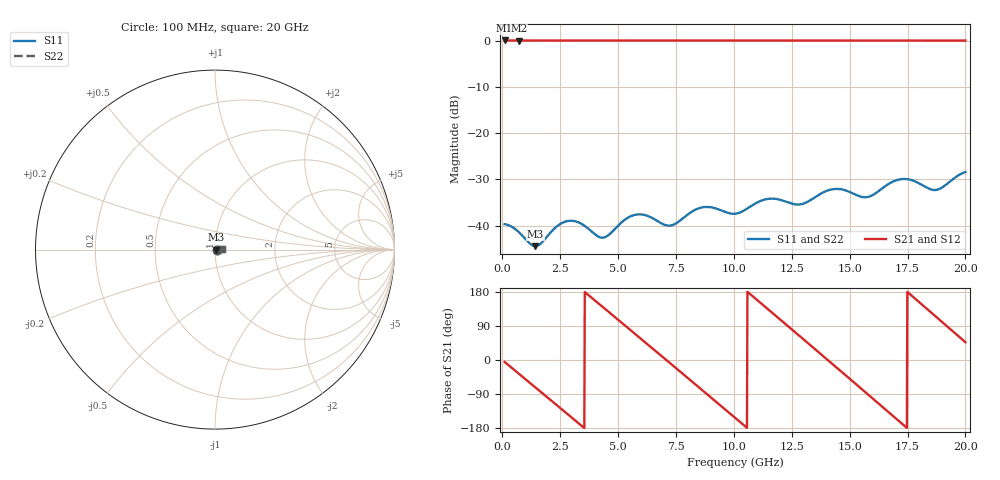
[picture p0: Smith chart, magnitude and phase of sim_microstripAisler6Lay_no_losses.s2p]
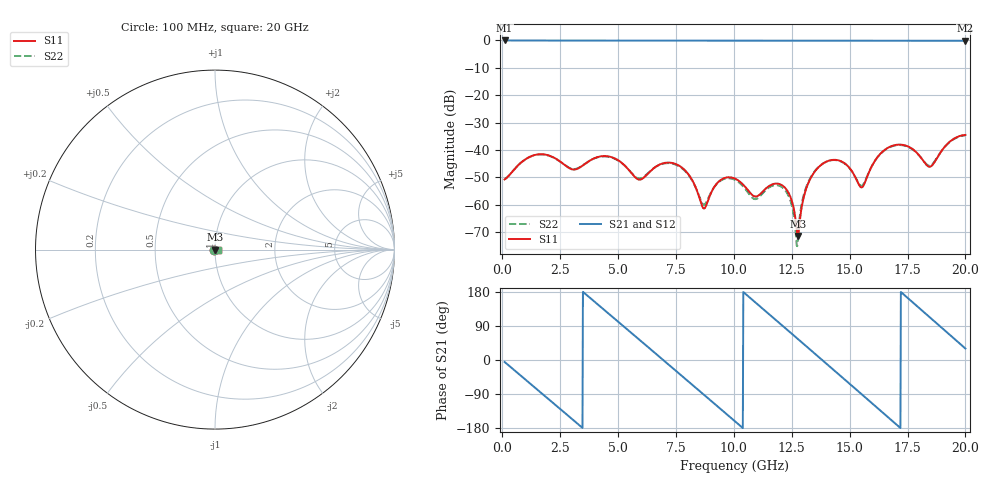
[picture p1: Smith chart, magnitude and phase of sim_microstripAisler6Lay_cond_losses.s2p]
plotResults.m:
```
clear;
close all;

% Plot Size and scaling
size_x = 1280;
size_y = 720;

% Parse Touchstone
[~, freq_noLosses, sp_noLosses]=read_touchstone('sim_microstripAisler6Lay_no_losses.s2p');
[~, freq_condLosses, sp_condLosses]=read_touchstone('sim_microstripAisler6Lay_cond_losses.s2p');
[~, freq_subLosses, sp_subLosses]=read_touchstone('sim_microstripAisler6Lay_sub_losses.s2p');
[~, freq_subCondLosses, sp_subCondLosses]=read_touchstone('sim_microstripAisler6Lay_subCond_losses.s2p');
[~, freq_meas sp_meas]=read_touchstone('combLineTabbed6G_2xthru_deemb.s2p');

dB = @(x) 20*log10(abs(squeeze(x)));

% ------------------------------------------------------------------------------
% -
% - Plot 1: Transmission
% -
% ------------------------------------------------------------------------------

% Create Figure 1
fig1 = figure('Position', [0,0, size_x, size_y]);

% Plot Lines
hold on;
plot(freq_noLosses/1e9, dB(sp_noLosses(2,1,:)), 'Linewidth', 1.5);
plot(freq_condLosses/1e9, dB(sp_condLosses(2,1,:)), 'Linewidth', 1.5);
plot(freq_subLosses/1e9, dB(sp_subLosses(2,1,:)), 'Linewidth', 1.5);
plot(freq_subCondLosses/1e9, dB(sp_subCondLosses(2,1,:)), 'Linewidth', 1.5);
plot(freq_meas/1e9, dB(sp_meas(2,1,:)), 'Linewidth', 1.5);
hold off;

% Plot Texts
legend( 'openEMS - lossless',...
        'openEMS - condSheet only',...
        'openEMS - Djordjevic only',...
        'openEMS - Djordjevic+CondSheet',...
        'De-embedded Measurement ',...
        'FontSize', 11,...
        'Location', 'SouthWest');

title({'Microstrip on Aisler 6 Layer HD - Transmission S_{21}',...
       'Simulation vs. Measurment'});
xlabel('Frequency / GHz');
ylabel('Magnitude / dB');
grid minor

print(fig1, 'meas_vs_sim_s21.png', '-dpng', sprintf('-S%i,%i', size_x, size_y));


% ------------------------------------------------------------------------------
% -
% - Plot 2: Reflection
% -
% ------------------------------------------------------------------------------

% Create Figure 2
fig2 = figure('Position', [0,0, size_x, size_y]);

% Plot Lines
hold on;
plot(freq_noLosses/1e9, dB(sp_noLosses(1,1,:)), 'Linewidth', 1.5);
plot(freq_condLosses/1e9, dB(sp_condLosses(1,1,:)), 'Linewidth', 1.5);
plot(freq_subLosses/1e9, dB(sp_subLosses(1,1,:)), 'Linewidth', 1.5);
plot(freq_subCondLosses/1e9, dB(sp_subCondLosses(1,1,:)), 'Linewidth', 1.5);
plot(freq_meas/1e9, dB(sp_meas(1,1,:)), 'Linewidth', 1.5);
hold off;

% Plot Texts
legend( 'openEMS - lossless',...
        'openEMS - condSheet only',...
        'openEMS - Djordjevic only',...
        'openEMS - Djordjevic+CondSheet',...
        'De-embedded Measurement ',...
        'FontSize', 11,...
        'Location', 'SouthWest');


title({'Microstrip on Aisler 6 Layer HD - Reflection S_{11}',...
       'Simulation vs. Measurment'});
xlabel('Frequency / GHz');
ylabel('Magnitude / dB');
grid minor

print(fig2, 'meas_vs_sim_s11.png', '-dpng', sprintf('-S%i,%i', size_x, size_y));
% ------------------------------------------------------------------------------
% -
% - Plot 3: Measurmed Transmission line
% -
% ------------------------------------------------------------------------------

% Create Figure 1
fig3 = figure('Position', [0,0, size_x, size_y]);

% Plot Lines
hold on;
plot(freq_meas/1e9, dB(sp_meas(1,1,:)), 'Linewidth', 1.5);
plot(freq_meas/1e9, dB(sp_meas(2,1,:)), 'Linewidth', 1.5);
plot(freq_meas/1e9, dB(sp_meas(1,2,:)), 'Linewidth', 1.5);
plot(freq_meas/1e9, dB(sp_meas(2,2,:)), 'Linewidth', 1.5);
hold off;

ylim([-50,0]);

% Plot Texts
legend( 'S_{11}', 'S_{21}', 'S_{12}', 'S_{22}', 'FontSize', 11, 'Location', 'SouthWest');

title({'Microstrip on Aisler 6 Layer HD',...
       'De-Embedded Measurment (23.5mm)'});
xlabel('Frequency / GHz');
ylabel('Magnitude / dB');
grid minor

print(fig3, 'meas_deemb.png', '-dpng', sprintf('-S%i,%i', size_x, size_y));
```
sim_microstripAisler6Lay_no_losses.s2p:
#  Hz  S  RI  R  50
!  Microstrip line with via fence on Aisler 6 layer HD stackup
!  Line length = combLineTabbed6G_2xthru (54.2mm) - SMA_Rosenbergerv2 fixture (28.9mm) = 23.5mm
!  No losses
!  Paramter List:
!  lossySubstrate = 0, Flag that indicates if substrate losses were enabled
!  lossyCondSheet = 0, Flag that indicates if the zero thickness conducting sheet model was used
!  w50 = 0.65, Width of the 50Ohm line
!  w50gndfree = 1.225, Seperation between RF trace edges to GND planes
!  lineLength = 23.5, Length of the microstrip transmission line
!  portLength = 8,
!  measPlaneShiftP1 = 8,
!  measPlaneShiftP2 = 8,
!  feedShift = 3.74741,
!  numViasX = 55,
!  pcbX = 39.5,
!  pcbY = 25,
!  stackupL01th = 0.04,
!  stackupSub01th = 0.13626,
!  stackupL02th = 0.035,
!  stackupSub02th = 0.2,
!  stackupL03th = 0.035,
!  viaD03 = 0.3,
!  viaCpD03 = 0.6,
!  viaClearD03 = 1,
!  viaPitch = 0.6,
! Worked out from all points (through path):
!   1001 points, 100 MHz to 20 GHz, reference 50 ohm
!   highest |S21| = 0.02 dB at 100 MHz (marker M1); lowest = 0.0 dB at 716.9 MHz (marker M2)
!   group delay of S21, straight-line fit = 143 ps
!   lowest |S11| = -44.4 dB at 1.433 GHz (marker M3), VSWR 1.01, Z = 50.6 + j0.0163 ohm
!   |S11| at or under -10 dB: start of sweep to end of sweep
!   |S22| runs from -44.4 to -28.4 dB; largest |S21 - S12| = 1.7e-05
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1e8  0.0104 -0.000476  0.9977 -0.0892  0.9977 -0.0892  0.0104 -0.000477
7.169e8  0.00824 -0.00214  0.8044 -0.5911  0.8044 -0.5911  0.00825 -0.00214
1.4333e9  0.00602 0.000161  0.2996 -0.9558  0.2996 -0.9558  0.00602 0.000161
3.4233e9  0.0104 -0.00149  -0.9937 -0.1121  -0.9937 -0.1121  0.0104 -0.00149
5.2541e9  0.0111 0.00292  -0.0587 0.9988  -0.0587 0.9988  0.0111 0.00292
7.3038e9  0.0101 0.000634  0.9814 -0.1958  0.9814 -0.1958  0.0101 0.000633
1.005e10  0.0135 0.000188  -0.8862 -0.465  -0.8862 -0.465  0.0135 0.000197
1.21793e10  0.0184 -0.002  -0.1326 0.992  -0.1326 0.992  0.0184 -0.00199
1.40698e10  0.0241 0.00131  1.001 -0.0127  1.001 -0.0127  0.0242 0.00131
1.76717e10  0.0308 -0.00466  -0.9856 0.1689  -0.9856 0.1689  0.0308 -0.00465
2e10  0.038 0.00196  0.6822 0.7301  0.6822 0.7301  0.0379 0.00185
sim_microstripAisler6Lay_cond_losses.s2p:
#  Hz  S  RI  R  50
!  Microstrip line with via fence on Aisler 6 layer HD stackup
!  Line length = combLineTabbed6G_2xthru (54.2mm) - SMA_Rosenbergerv2 fixture (28.9mm) = 23.5mm
!  Conductor losses only
!  Paramter List:
!  lossySubstrate = 0, Flag that indicates if substrate losses were enabled
!  lossyCondSheet = 1, Flag that indicates if the zero thickness conducting sheet model was used
!  w50 = 0.65, Width of the 50Ohm line
!  w50gndfree = 1.225, Seperation between RF trace edges to GND planes
!  lineLength = 23.5, Length of the microstrip transmission line
!  portLength = 8,
!  measPlaneShiftP1 = 8,
!  measPlaneShiftP2 = 8,
!  feedShift = 3.74741,
!  numViasX = 55,
!  pcbX = 39.5,
!  pcbY = 25,
!  stackupL01th = 0,
!  stackupSub01th = 0.13626,
!  stackupL02th = 0,
!  stackupSub02th = 0.2,
!  stackupL03th = 0,
!  viaD03 = 0.3,
!  viaCpD03 = 0.6,
!  viaClearD03 = 1,
!  viaPitch = 0.6,
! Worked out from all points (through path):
!   1001 points, 100 MHz to 20 GHz, reference 50 ohm
!   highest |S21| = 0.00 dB at 100 MHz (marker M1); lowest = -0.1 dB at 20 GHz (marker M2)
!   group delay of S21, straight-line fit = 146 ps
!   lowest |S11| = -71.4 dB at 12.76 GHz (marker M3), VSWR 1.00, Z = 50 + j0.00552 ohm
!   |S11| at or under -10 dB: start of sweep to end of sweep
!   |S22| runs from -75.1 to -34.7 dB; largest |S21 - S12| = 0.00078
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1e8  -0.00286 -0.000494  0.9955 -0.0909  0.9955 -0.091  -0.00289 -0.000487
1.692e9  -0.00829 -0.00108  0.0426 -0.9968  0.0421 -0.9962  -0.00822 -0.00106
3.2442e9  -0.0044 -0.00105  -0.9732 -0.2104  -0.9725 -0.2101  -0.00449 -0.00104
5.1546e9  -0.00554 0.00184  -0.0567 0.9921  -0.057 0.9921  -0.00551 0.00173
6.9456e9  -0.00551 -0.00151  0.993 0.00413  0.993 0.00413  -0.00544 -0.00139
1.005e10  -0.00299 -8.23e-05  -0.9422 -0.3092  -0.9421 -0.3092  -0.00284 -1.36e-05
1.27564e10  -0.000264 5.52e-05  0.5548 0.8203  0.5548 0.8203  -0.000106 0.00019
1.36917e10  0.00477 0.00147  0.9834 0.1128  0.9834 0.1128  0.00487 0.00131
1.53036e10  0.00213 -0.00186  0.1914 -0.9704  0.1914 -0.9703  0.00222 -0.0018
1.72538e10  0.0119 -0.00355  -0.9868 0.0457  -0.9869 0.0457  0.0117 -0.00351
2e10  0.0187 -0.00202  0.852 0.4972  0.852 0.4972  0.0184 -0.00206
